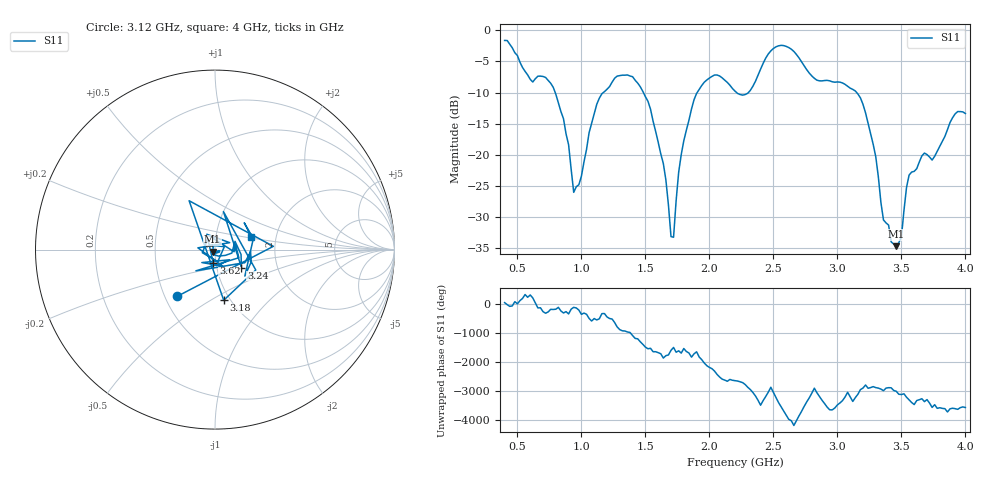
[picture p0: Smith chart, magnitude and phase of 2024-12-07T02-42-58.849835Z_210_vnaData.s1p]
!Created with skrf (http://scikit-rf.org).
# Hz S RI R 50.0
!freq ReS11 ImS11
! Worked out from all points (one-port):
!   181 points, 400 MHz to 4 GHz, reference 50 ohm
!   lowest |S11| = -34.7 dB at 3.46 GHz (marker M1), VSWR 1.04, Z = 48.6 - j1.2 ohm
!   |S11| at or under -10 dB: 795.4 MHz to 1.171 GHz (376 MHz wide, 38.2 % of centre); 1.484 GHz to 1.904 GHz (420 MHz wide, 24.8 % of centre); 3.151 GHz to end of sweep (the widest 3 of 4)
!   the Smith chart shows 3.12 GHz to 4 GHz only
!   S11 on the Smith chart (normalised r, x): 3.12 GHz: 0.58, -0.34; 3.18 GHz: 0.93, -0.57; 3.24 GHz: 1.31, -0.27; 3.62 GHz: 0.97, -0.15; 4 GHz: 1.49, +0.23
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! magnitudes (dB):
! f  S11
! 400 MHz  -1.6
! 620 MHz  -8.3
! 760 MHz  -8.5
! 860 MHz  -14.2
! 940 MHz  -26.1
! 1.12 GHz  -11.9
! 1.3 GHz  -7.3
! 1.54 GHz  -12.7
! 1.64 GHz  -21.4
! 1.7 GHz  -33.2
! 1.72 GHz  -33.3
! 1.76 GHz  -22.8
! 1.86 GHz  -12.7
! 1.94 GHz  -8.9
! 2.2 GHz  -9.8
! 2.3 GHz  -10.1
! 2.5 GHz  -2.9
! 2.66 GHz  -3.4
! 3.1 GHz  -9.3
! 3.12 GHz  -9.5
! 3.18 GHz  -10.9
! 3.24 GHz  -15.0
! 3.36 GHz  -30.5
! 3.46 GHz  -34.7
! 3.5 GHz  -33.3
! 3.56 GHz  -23.3
! 3.62 GHz  -22.2
! 4 GHz  -13.4
